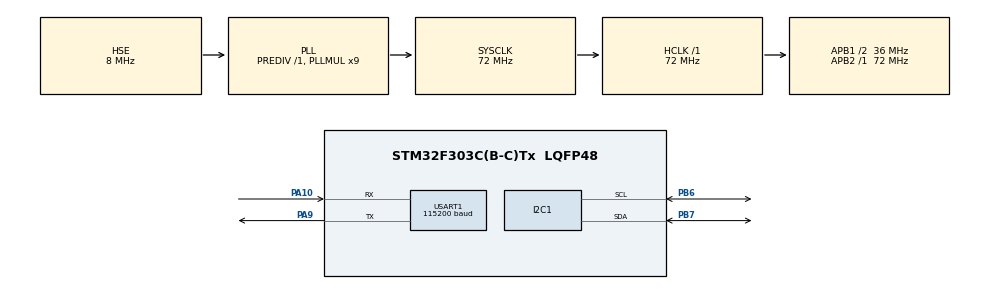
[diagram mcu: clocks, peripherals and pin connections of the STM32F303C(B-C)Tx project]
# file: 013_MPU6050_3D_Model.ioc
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Dma.Request0=USART1_TX
Dma.Request1=USART1_RX
Dma.USART1_RX.1.Direction=DMA_PERIPH_TO_MEMORY
Dma.USART1_RX.1.Instance=DMA1_Channel5
Dma.USART1_RX.1.MemDataAlignment=DMA_MDATAALIGN_BYTE
Dma.USART1_RX.1.MemInc=DMA_MINC_ENABLE
Dma.USART1_RX.1.Mode=DMA_NORMAL
Dma.USART1_RX.1.PeriphDataAlignment=DMA_PDATAALIGN_BYTE
Dma.USART1_RX.1.PeriphInc=DMA_PINC_DISABLE
Dma.USART1_RX.1.Priority=DMA_PRIORITY_LOW
Dma.USART1_TX.0.Direction=DMA_MEMORY_TO_PERIPH
Dma.USART1_TX.0.Instance=DMA1_Channel4
Dma.USART1_TX.0.MemDataAlignment=DMA_MDATAALIGN_BYTE
Dma.USART1_TX.0.MemInc=DMA_MINC_ENABLE
Dma.USART1_TX.0.Mode=DMA_CIRCULAR
Dma.USART1_TX.0.PeriphDataAlignment=DMA_PDATAALIGN_BYTE
Dma.USART1_TX.0.PeriphInc=DMA_PINC_DISABLE
Dma.USART1_TX.0.Priority=DMA_PRIORITY_LOW
Mcu.Family=STM32F3
Mcu.Name=STM32F303C(B-C)Tx
Mcu.Package=LQFP48
NVIC.DMA1_Channel4_IRQn=true\:0\:0\:false\:false\:true\:false\:true\:true
NVIC.DMA1_Channel5_IRQn=true\:0\:0\:false\:false\:true\:false\:true\:true
NVIC.PriorityGroup=NVIC_PRIORITYGROUP_4
NVIC.USART1_IRQn=true\:0\:0\:false\:false\:true\:true\:true\:true
PA10.Mode=Asynchronous
PA10.Signal=USART1_RX
PA13.Mode=Trace_Asynchronous_SW
PA13.Signal=SYS_JTMS-SWDIO
PA14.Mode=Trace_Asynchronous_SW
PA14.Signal=SYS_JTCK-SWCLK
PA9.Mode=Asynchronous
PA9.Signal=USART1_TX
PB3.Mode=Trace_Asynchronous_SW
PB3.Signal=SYS_JTDO-TRACESWO
PB6.Mode=I2C
PB6.Signal=I2C1_SCL
PB7.Mode=I2C
PB7.Signal=I2C1_SDA
PF0-OSC_IN.Mode=HSE-External-Oscillator
PF0-OSC_IN.Signal=RCC_OSC_IN
PF1-OSC_OUT.Mode=HSE-External-Oscillator
PF1-OSC_OUT.Signal=RCC_OSC_OUT
ProjectManager.HeapSize=0x200
ProjectManager.StackSize=0x400
ProjectManager.TargetToolchain=STM32CubeIDE
RCC.AHBFreq_Value=72000000
RCC.APB1CLKDivider=RCC_HCLK_DIV2
RCC.APB1Freq_Value=36000000
RCC.APB1TimFreq_Value=72000000
RCC.APB2Freq_Value=72000000
RCC.APB2TimFreq_Value=72000000
RCC.CortexFreq_Value=72000000
RCC.HCLKFreq_Value=72000000
RCC.HSE_VALUE=8000000
RCC.HSI_VALUE=8000000
RCC.LSE_VALUE=32768
RCC.PLLMUL=RCC_PLL_MUL9
RCC.PLLSourceVirtual=RCC_PLLSOURCE_HSE
RCC.SYSCLKFreq_VALUE=72000000
RCC.SYSCLKSourceVirtual=RCC_SYSCLKSOURCE_PLLCLK
RCC.USBFreq_Value=72000000
USART1.BaudRate=115200
USART1.VirtualMode-Asynchronous=VM_ASYNC
board=custom

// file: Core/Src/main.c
/* USER CODE BEGIN Header */
/**
  ******************************************************************************
  * @file           : main.c
  * @brief          : Main program body
  ******************************************************************************
  * @attention
  *
  * Copyright (c) 2024 STMicroelectronics.
  * All rights reserved.
  *
  * This software is licensed under terms that can be found in the LICENSE file
  * in the root directory of this software component.
  * If no LICENSE file comes with this software, it is provided AS-IS.
  *
  ******************************************************************************
  */
/* USER CODE END Header */
#include "main.h"

/* USER CODE BEGIN Includes */
#include "mpu6050.h"
#include <stdio.h>
#include <stdint.h>
/* USER CODE END Includes */

I2C_HandleTypeDef hi2c1;

UART_HandleTypeDef huart1;
DMA_HandleTypeDef hdma_usart1_tx;
DMA_HandleTypeDef hdma_usart1_rx;

/* USER CODE BEGIN PV */
MPU6050_t mpu6050_data;
/* USER CODE END PV */

void SystemClock_Config(void);
static void MX_GPIO_Init(void);
static void MX_DMA_Init(void);
static void MX_I2C1_Init(void);
static void MX_USART1_UART_Init(void);

int main(void)
{

  /* USER CODE BEGIN 1 */
  double data_Packet[3] = {0, 0, 0};
  char split_data = '#';
  char data[120];
  unsigned long current_time = 0;
  /* USER CODE END 1 */

  /* MCU Configuration--------------------------------------------------------*/

  /* Reset of all peripherals, Initializes the Flash interface and the Systick. */
  HAL_Init();

  /* Configure the system clock */
  SystemClock_Config();

  /* Initialize all configured peripherals */
  MX_GPIO_Init();
  MX_DMA_Init();
  MX_I2C1_Init();
  MX_USART1_UART_Init();
  /* USER CODE BEGIN 2 */
  MPU6050_Init();
  /* USER CODE END 2 */

  /* Infinite loop */
  while (1)
  {

    /* USER CODE BEGIN 3 */
    if(HAL_GetTick() - current_time >= 100) {
      current_time = HAL_GetTick();
      /* Read all data from sensor 1 */
      MPU6050_Read_All(&mpu6050_data);

      data_Packet[0] = mpu6050_data.Kalman_angle_x;
      data_Packet[1] = mpu6050_data.Kalman_angle_y;
      data_Packet[2] = mpu6050_data.Gyro_angle_z;

      printf("%.2f  || %.2f  || %.2f\n", data_Packet[0], data_Packet[1], data_Packet[2]);
      HAL_UART_Transmit_DMA(&huart1, (uint8_t *)data, sprintf(data, "%1.0f%c%1.0f%c%1.0f",
          data_Packet[0], split_data, data_Packet[1],split_data, data_Packet[2]));
      }
  }
  /* USER CODE END 3 */
}

void SystemClock_Config(void)
{
  RCC_OscInitTypeDef RCC_OscInitStruct = {0};
  RCC_ClkInitTypeDef RCC_ClkInitStruct = {0};
  RCC_PeriphCLKInitTypeDef PeriphClkInit = {0};

  /** Initializes the RCC Oscillators according to the specified parameters
  * in the RCC_OscInitTypeDef structure.
  */
  RCC_OscInitStruct.OscillatorType = RCC_OSCILLATORTYPE_HSI|RCC_OSCILLATORTYPE_HSE;
  RCC_OscInitStruct.HSEState = RCC_HSE_ON;
  RCC_OscInitStruct.HSEPredivValue = RCC_HSE_PREDIV_DIV1;
  RCC_OscInitStruct.HSIState = RCC_HSI_ON;
  RCC_OscInitStruct.HSICalibrationValue = RCC_HSICALIBRATION_DEFAULT;
  RCC_OscInitStruct.PLL.PLLState = RCC_PLL_ON;
  RCC_OscInitStruct.PLL.PLLSource = RCC_PLLSOURCE_HSE;
  RCC_OscInitStruct.PLL.PLLMUL = RCC_PLL_MUL9;
  if (HAL_RCC_OscConfig(&RCC_OscInitStruct) != HAL_OK)
  {
    Error_Handler();
  }

  /** Initializes the CPU, AHB and APB buses clocks
  */
  RCC_ClkInitStruct.ClockType = RCC_CLOCKTYPE_HCLK|RCC_CLOCKTYPE_SYSCLK
                              |RCC_CLOCKTYPE_PCLK1|RCC_CLOCKTYPE_PCLK2;
  RCC_ClkInitStruct.SYSCLKSource = RCC_SYSCLKSOURCE_PLLCLK;
  RCC_ClkInitStruct.AHBCLKDivider = RCC_SYSCLK_DIV1;
  RCC_ClkInitStruct.APB1CLKDivider = RCC_HCLK_DIV2;
  RCC_ClkInitStruct.APB2CLKDivider = RCC_HCLK_DIV1;

  if (HAL_RCC_ClockConfig(&RCC_ClkInitStruct, FLASH_LATENCY_2) != HAL_OK)
  {
    Error_Handler();
  }
  PeriphClkInit.PeriphClockSelection = RCC_PERIPHCLK_USART1|RCC_PERIPHCLK_I2C1;
  PeriphClkInit.Usart1ClockSelection = RCC_USART1CLKSOURCE_PCLK2;
  PeriphClkInit.I2c1ClockSelection = RCC_I2C1CLKSOURCE_HSI;
  if (HAL_RCCEx_PeriphCLKConfig(&PeriphClkInit) != HAL_OK)
  {
    Error_Handler();
  }
}

static void MX_I2C1_Init(void)
{

  hi2c1.Instance = I2C1;
  hi2c1.Init.Timing = 0x2000090E;
  hi2c1.Init.OwnAddress1 = 0;
  hi2c1.Init.AddressingMode = I2C_ADDRESSINGMODE_7BIT;
  hi2c1.Init.DualAddressMode = I2C_DUALADDRESS_DISABLE;
  hi2c1.Init.OwnAddress2 = 0;
  hi2c1.Init.OwnAddress2Masks = I2C_OA2_NOMASK;
  hi2c1.Init.GeneralCallMode = I2C_GENERALCALL_DISABLE;
  hi2c1.Init.NoStretchMode = I2C_NOSTRETCH_DISABLE;
  if (HAL_I2C_Init(&hi2c1) != HAL_OK)
  {
    Error_Handler();
  }

  /** Configure Analogue filter
  */
  if (HAL_I2CEx_ConfigAnalogFilter(&hi2c1, I2C_ANALOGFILTER_ENABLE) != HAL_OK)
  {
    Error_Handler();
  }

  /** Configure Digital filter
  */
  if (HAL_I2CEx_ConfigDigitalFilter(&hi2c1, 0) != HAL_OK)
  {
    Error_Handler();
  }

}

static void MX_USART1_UART_Init(void)
{

  huart1.Instance = USART1;
  huart1.Init.BaudRate = 115200;
  huart1.Init.WordLength = UART_WORDLENGTH_8B;
  huart1.Init.StopBits = UART_STOPBITS_1;
  huart1.Init.Parity = UART_PARITY_NONE;
  huart1.Init.Mode = UART_MODE_TX_RX;
  huart1.Init.HwFlowCtl = UART_HWCONTROL_NONE;
  huart1.Init.OverSampling = UART_OVERSAMPLING_16;
  huart1.Init.OneBitSampling = UART_ONE_BIT_SAMPLE_DISABLE;
  huart1.AdvancedInit.AdvFeatureInit = UART_ADVFEATURE_NO_INIT;
  if (HAL_UART_Init(&huart1) != HAL_OK)
  {
    Error_Handler();
  }

}

static void MX_DMA_Init(void)
{

  /* DMA controller clock enable */
  __HAL_RCC_DMA1_CLK_ENABLE();

  /* DMA interrupt init */
  /* DMA1_Channel4_IRQn interrupt configuration */
  HAL_NVIC_SetPriority(DMA1_Channel4_IRQn, 0, 0);
  HAL_NVIC_EnableIRQ(DMA1_Channel4_IRQn);
  /* DMA1_Channel5_IRQn interrupt configuration */
  HAL_NVIC_SetPriority(DMA1_Channel5_IRQn, 0, 0);
  HAL_NVIC_EnableIRQ(DMA1_Channel5_IRQn);

}

static void MX_GPIO_Init(void)
{

  /* GPIO Ports Clock Enable */
  __HAL_RCC_GPIOF_CLK_ENABLE();
  __HAL_RCC_GPIOA_CLK_ENABLE();
  __HAL_RCC_GPIOB_CLK_ENABLE();

}

/* USER CODE BEGIN 4 */
void HAL_UART_TxCpltCallback(UART_HandleTypeDef *huart)
{
  /* Reset DMA */
  HAL_UART_DMAStop(&huart1);
}
/* USER CODE END 4 */

void Error_Handler(void)
{
  __disable_irq();
  while (1)
  {
  }
}
